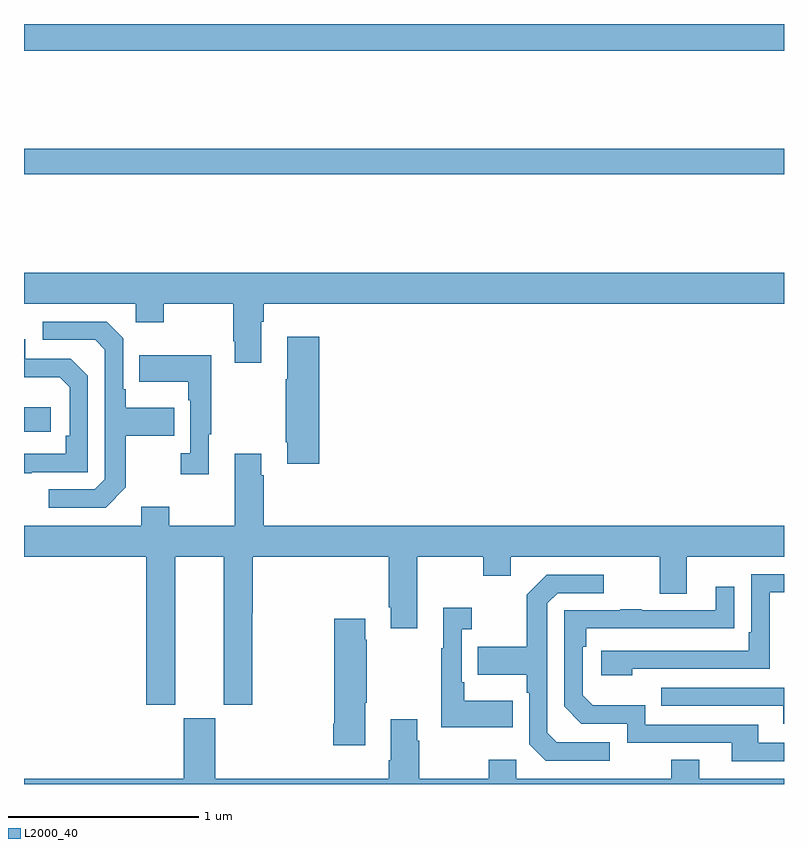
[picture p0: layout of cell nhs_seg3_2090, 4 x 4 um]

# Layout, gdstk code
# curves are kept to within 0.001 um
import gdstk
lib = gdstk.Library(unit=1e-6, precision=1e-09)
def R(c, l, rs):  # rectangles x0, y0, x1, y1
    for r in rs: c.add(gdstk.rectangle(r[:2], r[2:], *l))
def P(c, l, *ps):  # polygons
    for p in ps: c.add(gdstk.Polygon(p, *l))
L2000_40 = (2000, 40)

nhs_seg3_2090 = lib.new_cell('nhs_seg3_2090')
R(nhs_seg3_2090, L2000_40, [(219,688.254,219.142,688.384), (219,689.608,223,689.744), (219,690.26,223,690.4)])
P(nhs_seg3_2090, L2000_40, [(220.249,688.832),(220.262,688.832),(220.262,688.928),(223,688.928),(223,689.092),(219,689.092),(219,688.928),(219.588,688.928),(219.588,688.829),(219.735,688.829),(219.735,688.928),(220.102,688.928),(220.102,688.729),(220.109,688.729),(220.109,688.617),(220.249,688.617)],
  [(219.535,687.961),(219.535,688.234),(219.791,688.234),(219.791,688.381),(219.535,688.381),(219.535,688.477),(219.522,688.477),(219.522,688.746),(219.435,688.833),(219.099,688.833),(219.099,688.737),(219.375,688.737),(219.426,688.686),(219.426,688.005),(219.372,687.951),(219.129,687.951),(219.129,687.855),(219.429,687.855)],
  [(220.553,688.753),(220.385,688.753),(220.385,688.529),(220.378,688.529),(220.378,688.198),(220.385,688.198),(220.385,688.086),(220.553,688.086)],
  [(219.041,688.041),(219.336,688.041),(219.336,688.548),(219.246,688.638),(219.006,688.638),(219.006,688.74),(219,688.74),(219,688.541),(219.187,688.541),(219.24,688.488),(219.24,688.234),(219.22,688.234),(219.22,688.137),(219,688.137),(219,688.036),(219.041,688.036)],
  [(219.973,688.241),(219.985,688.241),(219.985,688.657),(219.607,688.657),(219.607,688.517),(219.864,688.517),(219.864,688.421),(219.876,688.421),(219.876,688.142),(219.825,688.142),(219.825,688.029),(219.973,688.029)],
  [(219.796,687.596),(220.052,687.596),(220.052,686.817),(220.2,686.817),(220.2,687.3),(220.205,687.3),(220.205,687.596),(220.919,687.596),(220.919,687.331),(220.931,687.331),(220.931,687.219),(221.071,687.219),(221.071,687.596),(221.416,687.596),(221.416,687.497),(221.563,687.497),(221.563,687.596),(222.347,687.596),(222.347,687.402),(222.487,687.402),(222.487,687.596),(223,687.596),(223,687.76),(220.262,687.76),(220.262,688.025),(220.249,688.025),(220.249,688.138),(220.109,688.138),(220.109,687.76),(219.765,687.76),(219.765,687.859),(219.617,687.859),(219.617,687.76),(219,687.76),(219,687.596),(219.644,687.596),(219.644,686.817),(219.796,686.817)],
  [(222.2,687.006),(222.924,687.006),(222.924,687.408),(223,687.408),(223,687.504),(222.828,687.504),(222.828,687.199),(222.815,687.199),(222.815,687.102),(222.039,687.102),(222.039,686.972),(222.2,686.972)],
  [(222.082,686.619),(221.805,686.619),(221.754,686.67),(221.754,687.351),(221.808,687.405),(222.052,687.405),(222.052,687.501),(221.751,687.501),(221.646,687.395),(221.646,687.123),(221.389,687.123),(221.389,686.975),(221.646,686.975),(221.646,686.879),(221.658,686.879),(221.658,686.61),(221.745,686.523),(222.082,686.523)],
  [(223,686.616),(222.865,686.616),(222.865,686.712),(222.27,686.712),(222.27,686.815),(221.993,686.815),(221.94,686.868),(221.94,687.122),(221.96,687.122),(221.96,687.219),(222.737,687.22),(222.737,687.439),(222.641,687.439),(222.641,687.315),(222.251,687.315),(222.251,687.32),(222.139,687.32),(222.139,687.315),(221.844,687.315),(221.844,686.808),(221.934,686.718),(222.174,686.718),(222.174,686.616),(222.725,686.616),(222.725,686.52),(223,686.52)],
  [(221.573,686.839),(221.317,686.839),(221.317,686.935),(221.304,686.935),(221.304,687.215),(221.356,687.215),(221.356,687.328),(221.207,687.328),(221.207,687.115),(221.196,687.115),(221.196,686.699),(221.573,686.699)],
  [(220.795,686.827),(220.803,686.827),(220.803,687.158),(220.795,687.158),(220.795,687.271),(220.633,687.271),(220.633,686.716),(220.628,686.716),(220.628,686.604),(220.795,686.604)],
  [(223,686.907),(222.355,686.907),(222.355,686.811),(222.995,686.811),(222.995,686.717),(223,686.717)],
  [(223,686.428),(222.553,686.428),(222.553,686.527),(222.406,686.527),(222.406,686.428),(221.592,686.428),(221.592,686.527),(221.446,686.527),(221.446,686.428),(221.079,686.428),(221.079,686.627),(221.071,686.627),(221.071,686.74),(220.931,686.74),(220.931,686.524),(220.919,686.524),(220.919,686.428),(220.006,686.428),(220.006,686.745),(219.842,686.745),(219.842,686.428),(219,686.428),(219,686.4),(223,686.4)])

lib.write_gds('nhs_seg3_2090.gds')
